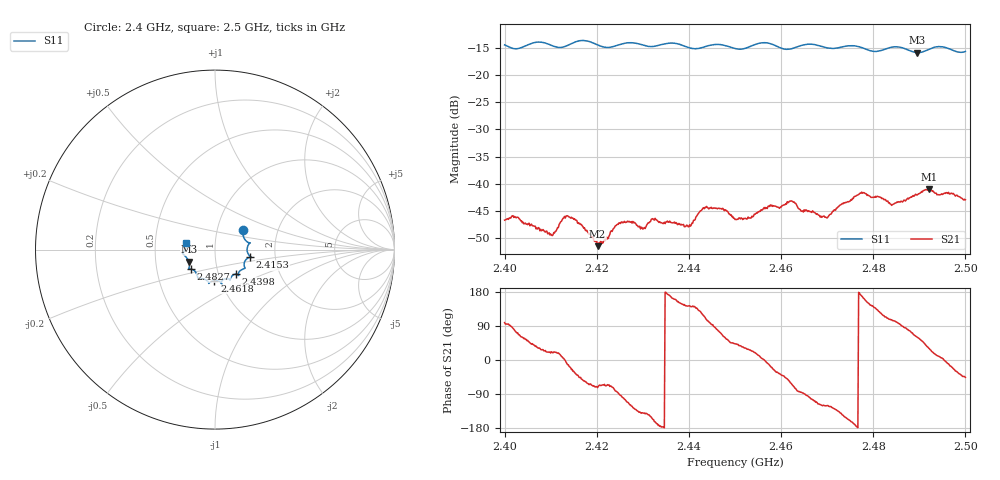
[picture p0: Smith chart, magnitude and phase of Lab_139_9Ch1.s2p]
# Hz S RI R 50
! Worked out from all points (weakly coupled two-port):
!   601 points, 2.4 GHz to 2.5 GHz, reference 50 ohm
!   highest |S21| = -41.02 dB at 2.4922 GHz (marker M1); lowest = -51.4 dB at 2.4202 GHz (marker M2)
!   lowest |S11| = -15.9 dB at 2.4895 GHz (marker M3), VSWR 1.38, Z = 37 - j5.04 ohm
!   |S11| at or under -10 dB: start of sweep to end of sweep
!   S12 and S22 are empty: the file has one direction only
!   S11 on the Smith chart (normalised r, x): 2.4 GHz: 1.33, +0.30; 2.4153 GHz: 1.48, -0.12; 2.4398 GHz: 1.21, -0.34; 2.4618 GHz: 0.94, -0.33; 2.4827 GHz: 0.75, -0.17; 2.5 GHz: 0.72, +0.06
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2.4e9  0.1555 0.1069  -0.0007 0.00459  0 0  0 0
2.402667e9  0.1617 0.064  0.00159 0.00468  0 0  0 0
2.41e9  0.1862 0.0264  0.00329 0.00109  0 0  0 0
2.413167e9  0.182 -0.0173  0.00486 -8.69e-05  0 0  0 0
2.415333e9  0.1966 -0.0397  0.00381 -0.00268  0 0  0 0
2.416667e9  0.2023 -0.0438  0.00271 -0.00327  0 0  0 0
2.420167e9  0.1827 -0.0469  0.000786 -0.00256  0 0  0 0
2.425e9  0.1644 -0.0962  -0.000159 -0.00438  0 0  0 0
2.43e9  0.1529 -0.1097  -0.00293 -0.00248  0 0  0 0
2.433333e9  0.1303 -0.1335  -0.00449 -0.000581  0 0  0 0
2.439833e9  0.1156 -0.136  -0.00321 0.00246  0 0  0 0
2.4435e9  0.0866 -0.1596  -0.00235 0.00562  0 0  0 0
2.45e9  0.065 -0.1623  0.00345 0.00321  0 0  0 0
2.461833e9  -0.00304 -0.1724  0.00383 -0.00578  0 0  0 0
2.466667e9  -0.0345 -0.1881  -0.00124 -0.00532  0 0  0 0
2.47e9  -0.0477 -0.1704  -0.00244 -0.00421  0 0  0 0
2.4775e9  -0.0981 -0.1488  -0.00826 0.00162  0 0  0 0
2.482667e9  -0.1347 -0.1085  -0.00288 0.00657  0 0  0 0
2.483333e9  -0.1399 -0.1081  -0.0021 0.00634  0 0  0 0
2.4895e9  -0.1456 -0.0663  0.00384 0.00689  0 0  0 0
2.492167e9  -0.1693 -0.0329  0.00769 0.00445  0 0  0 0
2.5e9  -0.1594 0.0385  0.00497 -0.00515  0 0  0 0
